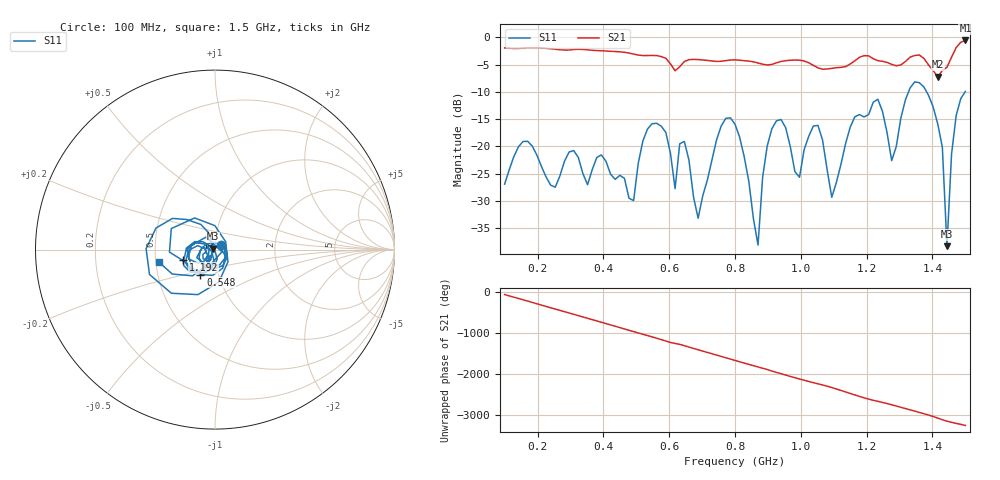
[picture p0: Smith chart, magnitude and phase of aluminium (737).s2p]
! NanoVNA-App
! Date: 2025-09-25 15:01:01
! Start: 100MHz Stop: 1,5GHz Points: 101
! S-Parameter data: F S11 S21 S12 S22
# Hz S RI R 50
!  Frequency  S11_Real  S11_Imag  S21_Real  S21_Imag  S12_Real  S12_Imag  S22_Real  S22_Imag
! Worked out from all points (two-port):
!   101 points, 100 MHz to 1.5 GHz, reference 50 ohm
!   highest |S21| = -0.56 dB at 1.5 GHz (marker M1); lowest = -7.2 dB at 1.416 GHz (marker M2)
!   |S21| within 3 dB of the highest: start of sweep to 577.8 MHz; 1.459 GHz to end of sweep (the widest 2 of 4)
!   lowest |S11| = -38.3 dB at 1.444 GHz (marker M3), VSWR 1.02, Z = 48.9 + j0.533 ohm
!   |S11| at or under -10 dB: start of sweep to 1.327 GHz; 1.382 GHz to 1.499 GHz (117 MHz wide, 8.12 % of centre)
!   S12 and S22 are empty: the file has one direction only
!   S11 on the Smith chart (normalised r, x): 100 MHz: 1.07, +0.06; 548 MHz: 0.82, -0.23; 1.192 GHz: 0.69, -0.08; 1.5 GHz: 0.52, -0.08
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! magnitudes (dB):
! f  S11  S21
! 100 MHz  -27.0  -1.9
! 156 MHz  -19.1  -2.0
! 338 MHz  -25.0  -2.2
! 492 MHz  -30.0  -3.1
! 548 MHz  -15.9  -3.3
! 576 MHz  -16.3  -3.5
! 618 MHz  -27.8  -6.1
! 646 MHz  -19.1  -4.4
! 688 MHz  -33.2  -4.1
! 800 MHz  -15.9  -4.1
! 870 MHz  -38.1  -4.7
! 912 MHz  -16.8  -5.0
! 996 MHz  -25.7  -4.2
! 1.038 GHz  -16.3  -5.1
! 1.094 GHz  -29.4  -5.7
! 1.192 GHz  -14.6  -3.3
! 1.276 GHz  -22.6  -5.0
! 1.346 GHz  -8.2  -3.3
! 1.416 GHz  -15.9  -7.2
! 1.444 GHz  -38.3  -5.5
! 1.458 GHz  -21.4  -3.6
! 1.5 GHz  -9.9  -0.6
